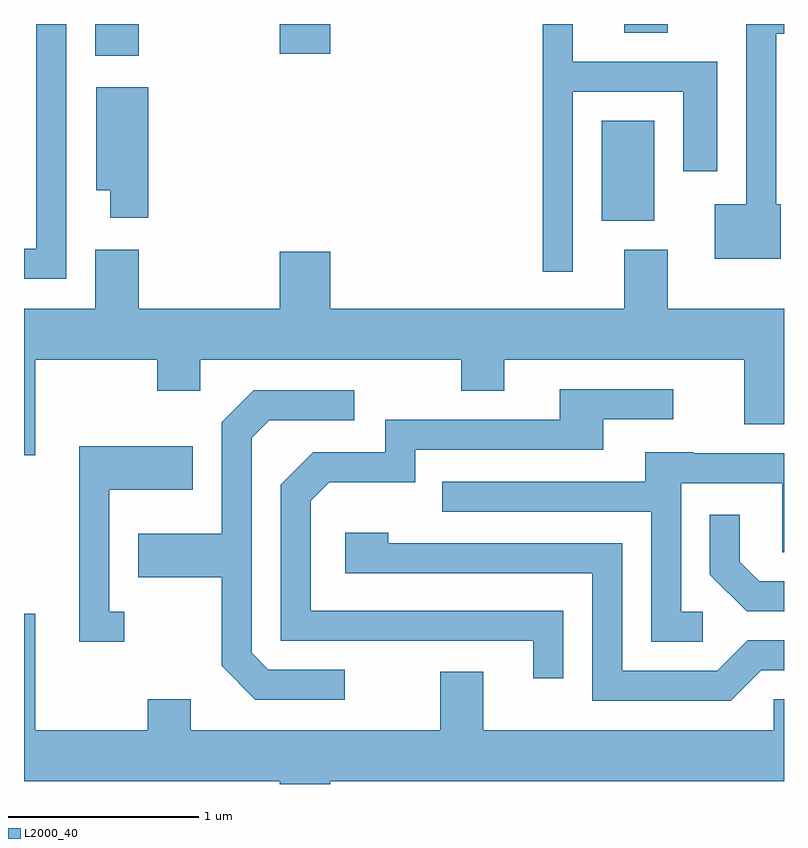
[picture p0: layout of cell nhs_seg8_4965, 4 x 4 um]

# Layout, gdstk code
import gdstk
lib = gdstk.Library(unit=1e-6, precision=1e-09)
def R(c, l, rs):  # rectangles x0, y0, x1, y1
    for r in rs: c.add(gdstk.rectangle(r[:2], r[2:], *l))
def P(c, l, *ps):  # polygons
    for p in ps: c.add(gdstk.Polygon(p, *l))
L2000_40 = (2000, 40)

nhs_seg8_4965 = lib.new_cell('nhs_seg8_4965')
R(nhs_seg8_4965, L2000_40, [(336.651,1899.306,336.929,1899.834), (333.986,1900.176,334.214,1900.342), (334.956,1900.186,335.224,1900.342), (336.771,1900.296,336.999,1900.342)])
P(nhs_seg8_4965, L2000_40, [(337.594,1899.394),(337.569,1899.394),(337.569,1900.291),(337.611,1900.291),(337.611,1900.342),(337.411,1900.342),(337.411,1899.394),(337.246,1899.394),(337.246,1899.106),(337.594,1899.106)],
  [(333.834,1900.342),(333.676,1900.342),(333.676,1899.159),(333.611,1899.159),(333.611,1899.001),(333.834,1899.001)],
  [(336.499,1899.986),(337.081,1899.986),(337.081,1899.566),(337.259,1899.566),(337.259,1900.144),(336.499,1900.144),(336.499,1900.342),(336.341,1900.342),(336.341,1899.038),(336.499,1899.038)],
  [(334.264,1900.009),(333.991,1900.009),(333.991,1899.466),(334.066,1899.466),(334.066,1899.321),(334.264,1899.321)],
  [(333.669,1898.576),(334.311,1898.576),(334.311,1898.411),(334.539,1898.411),(334.539,1898.576),(335.911,1898.576),(335.911,1898.411),(336.139,1898.411),(336.139,1898.576),(337.401,1898.576),(337.401,1898.236),(337.611,1898.236),(337.611,1898.844),(336.999,1898.844),(336.999,1899.154),(336.771,1899.154),(336.771,1898.844),(335.224,1898.844),(335.224,1899.144),(334.956,1899.144),(334.956,1898.844),(334.214,1898.844),(334.214,1899.154),(333.986,1899.154),(333.986,1898.844),(333.611,1898.844),(333.611,1898.071),(333.669,1898.071)],
  [(336.449,1897.254),(335.119,1897.254),(335.119,1897.834),(335.217,1897.931),(335.669,1897.931),(335.669,1898.101),(336.659,1898.101),(336.659,1898.261),(337.028,1898.261),(337.028,1898.419),(336.431,1898.419),(336.431,1898.259),(335.511,1898.259),(335.511,1898.089),(335.134,1898.089),(334.961,1897.917),(334.961,1897.096),(336.291,1897.096),(336.291,1896.898),(336.449,1896.898)],
  [(335.298,1896.944),(334.897,1896.944),(334.809,1897.032),(334.809,1898.164),(334.902,1898.256),(335.348,1898.256),(335.348,1898.414),(334.819,1898.414),(334.651,1898.247),(334.651,1897.659),(334.211,1897.659),(334.211,1897.431),(334.651,1897.431),(334.651,1896.964),(334.829,1896.786),(335.298,1896.786)],
  [(334.138,1897.249),(334.059,1897.249),(334.059,1897.891),(334.499,1897.891),(334.499,1898.119),(333.901,1898.119),(333.901,1897.091),(334.138,1897.091)],
  [(337.183,1897.249),(337.069,1897.249),(337.069,1897.926),(337.601,1897.926),(337.601,1897.561),(337.611,1897.561),(337.611,1898.084),(337.135,1898.084),(337.135,1898.089),(336.881,1898.089),(336.881,1897.934),(335.813,1897.934),(335.813,1897.776),(336.911,1897.776),(336.911,1897.091),(337.183,1897.091)],
  [(337.611,1897.409),(337.482,1897.409),(337.379,1897.512),(337.379,1897.758),(337.221,1897.758),(337.221,1897.444),(337.414,1897.251),(337.611,1897.251)],
  [(337.492,1896.941),(337.611,1896.941),(337.611,1897.099),(337.419,1897.099),(337.259,1896.939),(336.759,1896.939),(336.759,1897.609),(335.529,1897.609),(335.529,1897.664),(335.301,1897.664),(335.301,1897.451),(336.601,1897.451),(336.601,1896.781),(337.332,1896.781)],
  [(335.224,1896.356),(337.611,1896.356),(337.611,1896.789),(337.556,1896.789),(337.556,1896.624),(336.029,1896.624),(336.029,1896.934),(335.801,1896.934),(335.801,1896.624),(334.489,1896.624),(334.489,1896.789),(334.261,1896.789),(334.261,1896.624),(333.669,1896.624),(333.669,1897.239),(333.611,1897.239),(333.611,1896.356),(334.956,1896.356),(334.956,1896.342),(335.224,1896.342)])

lib.write_gds('nhs_seg8_4965.gds')
